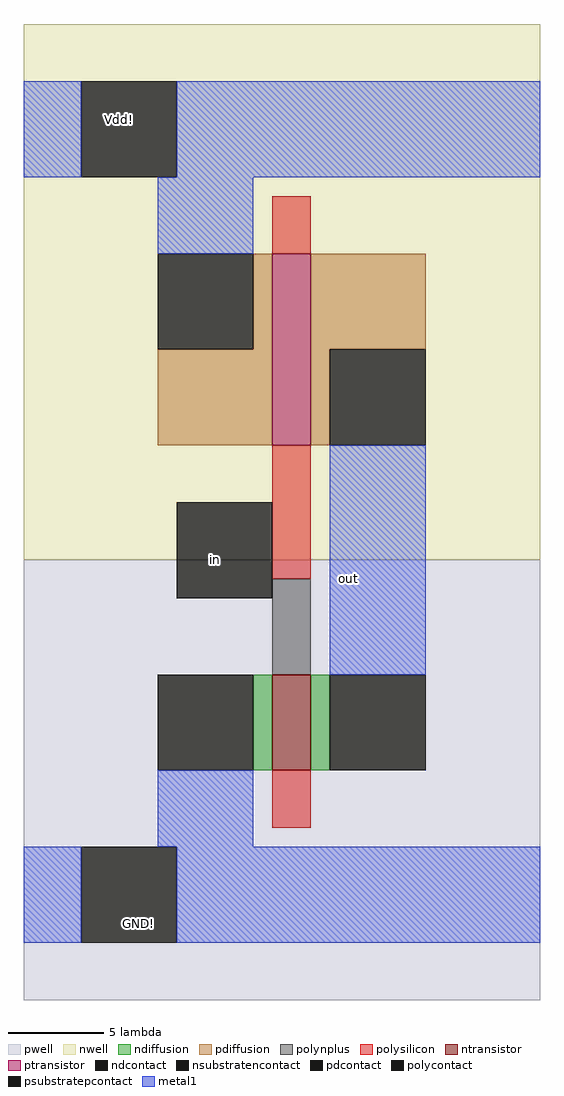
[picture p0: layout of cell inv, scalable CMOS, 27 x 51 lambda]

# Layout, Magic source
magic
tech scmos
<< nwell >>
rect -8 14 19 42
<< pwell >>
rect -8 -9 19 14
<< ntransistor >>
rect 5 3 7 8
<< ptransistor >>
rect 5 20 7 30
<< ndiffusion >>
rect 4 3 5 8
rect 7 3 8 8
<< pdiffusion >>
rect 4 25 5 30
rect -1 20 5 25
rect 7 25 13 30
rect 7 20 8 25
<< ndcontact >>
rect -1 3 4 8
rect 8 3 13 8
<< pdcontact >>
rect -1 25 4 30
rect 8 20 13 25
<< psubstratepcontact >>
rect -5 -6 0 -1
<< nsubstratencontact >>
rect -5 34 0 39
<< polysilicon >>
rect 5 30 7 33
rect 5 13 7 20
rect 5 0 7 3
<< polycontact >>
rect 0 12 5 17
<< polynplus >>
rect 5 8 7 13
<< metal1 >>
rect -8 34 -5 39
rect 0 34 19 39
rect -1 30 4 34
rect 8 8 13 20
rect -1 -1 4 3
rect -8 -6 -5 -1
rect 0 -6 19 -1
<< labels >>
rlabel metal1 9 13 9 13 1 out
rlabel polycontact 2 14 2 14 1 in
rlabel psubstratepcontact -2 -5 -2 -5 1 GND!
rlabel nsubstratencontact -3 37 -3 37 5 Vdd!
<< end >>
